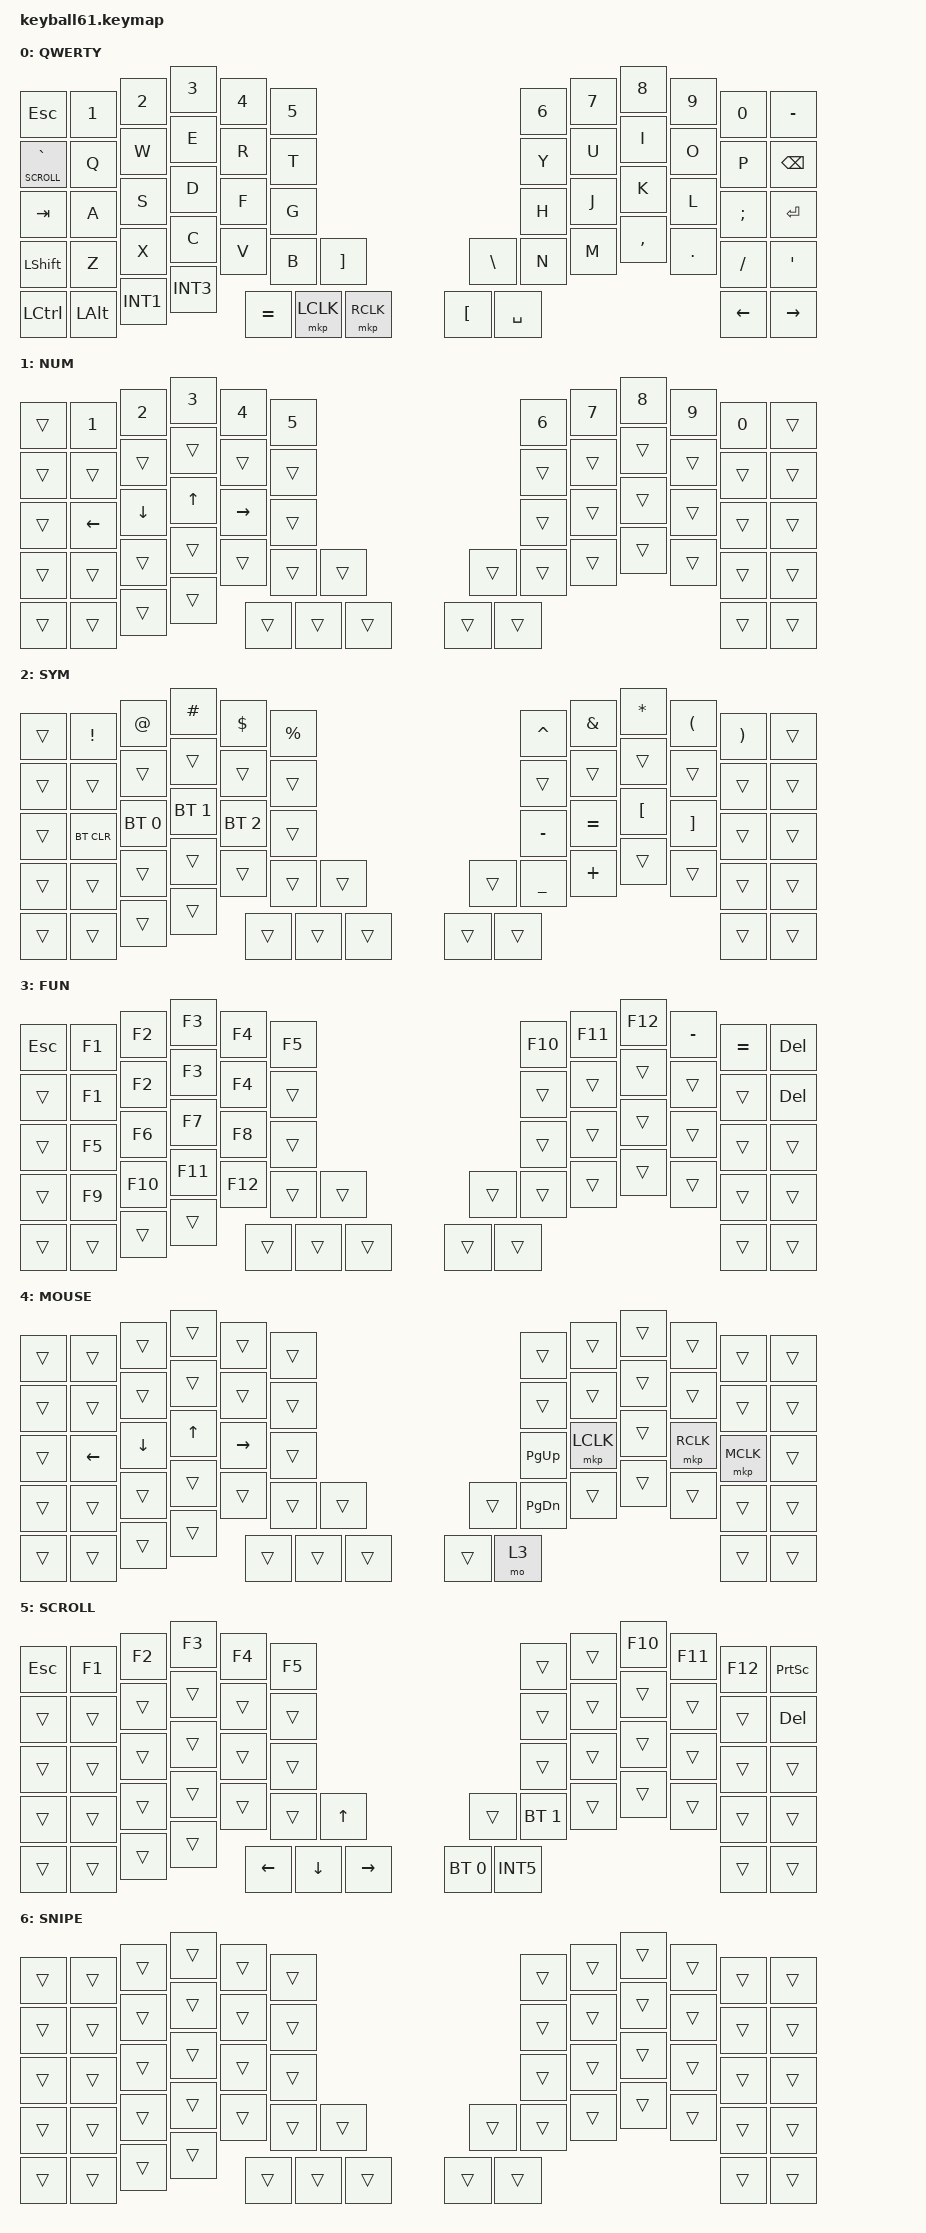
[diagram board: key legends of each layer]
#define DEFAULT 0
#define NUM     1
#define SYM     2
#define FUN     3
#define MOUSE   4
#define SCROLL  5
#define SNIPE   6

#include <behaviors/mouse_keys.dtsi>
#include <behaviors.dtsi>
#include <dt-bindings/zmk/bt.h>
#include <dt-bindings/zmk/keys.h>
#include <dt-bindings/zmk/mouse.h>

&lt {
    tapping-term-ms = <240>;
    flavor = "balanced";
    quick-tap-ms = <150>;
};

&mt {
    tapping-term-ms = <200>;
    flavor = "tap-preferred";
    quick-tap-ms = <150>;
};

/ {
    keymap {
        compatible = "zmk,keymap";

        default_layer {
            bindings = <
// RC(0,4)  RC(0,5)  RC(0,6)  RC(0,0)  RC(0,1)  RC(0,2)                        RC(0,9) RC(0,10) RC(0,11) RC(0,13) RC(0,14) RC(0,15)
&kp ESC     &kp N1   &kp N2   &kp N3   &kp N4   &kp N5                         &kp N6   &kp N7  &kp N8   &kp N9   &kp N0   &kp MINUS
// RC(1,4)  RC(1,5)  RC(1,6)  RC(1,0)  RC(1,1)  RC(1,2)                        RC(1,9) RC(1,10) RC(1,11) RC(1,13) RC(1,14) RC(1,15)
&lt SCROLL GRAVE    &kp Q    &kp W    &kp E    &kp R    &kp T                         &kp Y   &kp U    &kp I    &kp O    &kp P    &kp BSPC  
// RC(2,4)  RC(2,5)  RC(2,6)  RC(2,0)  RC(2,1)  RC(2,2)                        RC(2,9) RC(2,10) RC(2,11) RC(2,13) RC(2,14) RC(2,15)
&kp TAB     &kp A    &kp S    &kp D    &kp F    &kp G                          &kp H    &kp J    &kp K    &kp L   &kp SEMI &kp RET
// RC(3,4)  RC(3,5)  RC(3,6)  RC(3,0)  RC(3,1)  RC(3,2)  RC(3,3)      RC(3,8)  RC(3,9) RC(3,10) RC(3,11) RC(3,13) RC(3,14) RC(3,15)
&kp LSHFT   &kp Z   &kp X    &kp C    &kp V    &kp B    &kp RBKT      &kp BSLH &kp N   &kp M    &kp COMMA &kp DOT &kp FSLH &kp SQT
// RC(4,4)  RC(4,5)  RC(4,6)  RC(4,0)  RC(4,1)  RC(4,2)  RC(4,3)      RC(4,8)  RC(4,9)                            RC(4,14) RC(4,15)
&kp LCTRL   &kp LALT &kp INT1 &kp INT3 &kp EQUAL &mkp LCLK &mkp RCLK  &kp LBKT  &kp SPACE                          &kp LEFT &kp RIGHT
            >;
            label = "QWERTY";
        };

        number_layer {
            bindings = <
&trans  &kp N1    &kp N2    &kp N3  &kp N4     &kp N5                  &kp N6  &kp N7  &kp N8  &kp N9  &kp N0  &trans
&trans  &trans    &trans    &trans  &trans     &trans                  &trans  &trans  &trans  &trans  &trans  &trans
&trans  &kp LEFT  &kp DOWN  &kp UP  &kp RIGHT  &trans                  &trans  &trans  &trans  &trans  &trans  &trans
&trans  &trans    &trans    &trans  &trans     &trans  &trans  &trans  &trans  &trans  &trans  &trans  &trans  &trans
&trans  &trans    &trans    &trans  &trans     &trans  &trans  &trans  &trans                          &trans  &trans
            >;

            label = "NUM";
        };

        symbol_layer {
            label = "SYM";
            bindings = <
&trans  &kp EXCLAMATION  &kp AT_SIGN   &kp HASH      &kp DOLLAR    &kp PERCENT                  &kp CARET       &kp AMPERSAND  &kp ASTERISK      &kp LEFT_PARENTHESIS  &kp RIGHT_PARENTHESIS  &trans
&trans  &trans           &trans        &trans        &trans        &trans                       &trans          &trans         &trans            &trans                &trans                 &trans
&trans  &bt BT_CLR       &bt BT_SEL 0  &bt BT_SEL 1  &bt BT_SEL 2  &trans                       &kp MINUS       &kp EQUAL      &kp LEFT_BRACKET  &kp RIGHT_BRACKET     &trans                 &trans
&trans  &trans           &trans        &trans        &trans        &trans       &trans  &trans  &kp UNDERSCORE  &kp PLUS       &trans            &trans                &trans                 &trans
&trans  &trans           &trans        &trans        &trans        &trans       &trans  &trans  &trans                                                                 &trans                 &trans
            >;
        };

        function_layer {
            label = "FUN";
            bindings = <
&kp ESC &kp F1  &kp F2   &kp F3   &kp F4   &kp F5                  &kp F10 &kp F11 &kp F12 &kp MINUS &kp EQUAL &kp DEL
&trans  &kp F1  &kp F2   &kp F3   &kp F4   &trans                  &trans  &trans  &trans  &trans  &trans  &kp DEL
&trans  &kp F5  &kp F6   &kp F7   &kp F8   &trans                  &trans  &trans  &trans  &trans  &trans  &trans
&trans  &kp F9  &kp F10  &kp F11  &kp F12  &trans  &trans  &trans  &trans  &trans  &trans  &trans  &trans  &trans
&trans  &trans  &trans   &trans   &trans   &trans  &trans  &trans  &trans                          &trans  &trans
            >;
        };

        mouse_layer {
            label = "MOUSE";
            bindings = <
&trans  &trans    &trans    &trans  &trans     &trans                  &trans         &trans     &trans  &trans     &trans     &trans
&trans  &trans    &trans    &trans  &trans     &trans                  &trans         &trans     &trans  &trans     &trans     &trans
&trans  &kp LEFT  &kp DOWN  &kp UP  &kp RIGHT  &trans                  &kp PAGE_UP    &mkp LCLK  &trans  &mkp RCLK  &mkp MCLK  &trans
&trans  &trans    &trans    &trans  &trans     &trans  &trans  &trans  &kp PAGE_DOWN  &trans     &trans  &trans     &trans     &trans
&trans  &trans    &trans    &trans  &trans     &trans  &trans  &trans  &mo 3                                        &trans     &trans
            >;
        };

        scroll_layer {
            label = "SCROLL";
            bindings = <
&kp ESC &kp F1    &kp F2    &kp F3  &kp F4     &kp F5                  &trans  &trans  &kp F10 &kp F11   &kp F12 &kp PSCRN 
&trans  &trans    &trans    &trans  &trans     &trans                  &trans  &trans  &trans  &trans    &trans  &kp DEL
&trans  &trans    &trans    &trans  &trans     &trans                  &trans  &trans  &trans  &trans    &trans  &trans
&trans  &trans    &trans    &trans  &trans     &trans    &kp UP &trans &bt BT_SEL 1  &trans  &trans  &trans  &trans  &trans
&trans  &trans    &trans    &trans  &kp LEFT   &kp DOWN  &kp RIGHT     &bt BT_SEL 0  &kp INT5                  &trans  &trans
            >;

        };

        snipe_layer {
            label = "SNIPE";
            bindings = <
&trans  &trans  &trans  &trans  &trans  &trans                  &trans  &trans  &trans  &trans  &trans  &trans
&trans  &trans  &trans  &trans  &trans  &trans                  &trans  &trans  &trans  &trans  &trans  &trans
&trans  &trans  &trans  &trans  &trans  &trans                  &trans  &trans  &trans  &trans  &trans  &trans
&trans  &trans  &trans  &trans  &trans  &trans  &trans  &trans  &trans  &trans  &trans  &trans  &trans  &trans
&trans  &trans  &trans  &trans  &trans  &trans  &trans  &trans  &trans                          &trans  &trans
            >;
        };
    };
};
